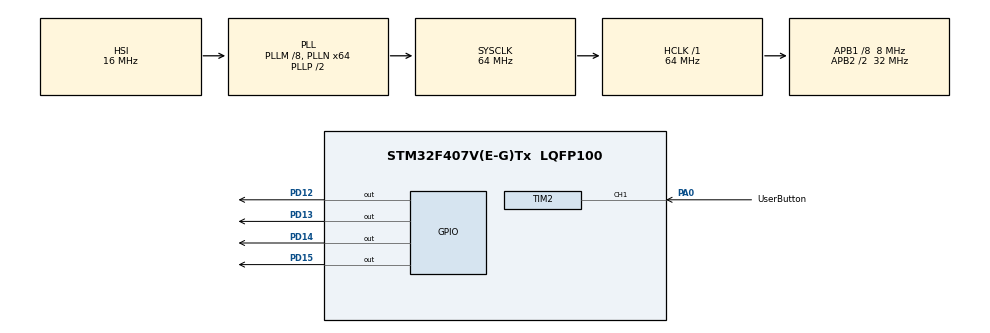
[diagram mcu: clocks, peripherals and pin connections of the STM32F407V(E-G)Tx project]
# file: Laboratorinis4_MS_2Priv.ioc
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Mcu.Family=STM32F4
Mcu.Name=STM32F407V(E-G)Tx
Mcu.Package=LQFP100
NVIC.PriorityGroup=NVIC_PRIORITYGROUP_0
NVIC.TIM2_IRQn=true\:0\:0\:false\:true\:true\:1\:true\:true\:true
PA0-WKUP.GPIO_Label=UserButton
PA0-WKUP.Signal=S_TIM2_CH1_ETR
PD12.Signal=GPIO_Output
PD13.Signal=GPIO_Output
PD14.Signal=GPIO_Output
PD15.Signal=GPIO_Output
PH0-OSC_IN.Mode=HSE-External-Oscillator
PH0-OSC_IN.Signal=RCC_OSC_IN
PH1-OSC_OUT.Mode=HSE-External-Oscillator
PH1-OSC_OUT.Signal=RCC_OSC_OUT
ProjectManager.HeapSize=0x200
ProjectManager.StackSize=0x400
ProjectManager.TargetToolchain=STM32CubeIDE
RCC.48MHZClocksFreq_Value=18285714.285714287
RCC.AHBFreq_Value=64000000
RCC.APB1CLKDivider=RCC_HCLK_DIV8
RCC.APB1Freq_Value=8000000
RCC.APB1TimFreq_Value=16000000
RCC.APB2CLKDivider=RCC_HCLK_DIV2
RCC.APB2Freq_Value=32000000
RCC.APB2TimFreq_Value=64000000
RCC.CortexFreq_Value=64000000
RCC.HCLKFreq_Value=64000000
RCC.HSE_VALUE=8000000
RCC.HSI_VALUE=16000000
RCC.LSE_VALUE=32768
RCC.PLLM=8
RCC.PLLN=64
RCC.PLLQ=7
RCC.SYSCLKFreq_VALUE=64000000
RCC.SYSCLKSource=RCC_SYSCLKSOURCE_PLLCLK
RCC.VCOOutputFreq_Value=128000000
SH.S_TIM2_CH1_ETR.0=TIM2_CH1,Input_Capture1_from_TI1
TIM2.Channel-Input_Capture1_from_TI1=TIM_CHANNEL_1
TIM2.ICFilter_CH1=15
TIM2.ICPolarity_CH1=TIM_INPUTCHANNELPOLARITY_FALLING
TIM2.Period=12000
TIM2.Prescaler=15999
VP_TIM2_VS_ClockSourceINT.Mode=Internal
board=STM32F407G-DISC1

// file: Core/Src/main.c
/* USER CODE BEGIN Header */
/**
  ******************************************************************************
  * @file           : main.c
  * @brief          : Main program body
  ******************************************************************************
  * @attention
  *
  * Copyright (c) 2023 STMicroelectronics.
  * All rights reserved.
  *
  * This software is licensed under terms that can be found in the LICENSE file
  * in the root directory of this software component.
  * If no LICENSE file comes with this software, it is provided AS-IS.
  *
  ******************************************************************************
  */
/* USER CODE END Header */
#include "main.h"

TIM_HandleTypeDef htim2;

void SystemClock_Config(void);
static void MX_GPIO_Init(void);
static void MX_TIM2_Init(void);
static void MX_NVIC_Init(void);

/* USER CODE BEGIN 0 */
int flag = 0;
uint32_t value = 0;
/* USER CODE END 0 */

int main(void)
{

  /* MCU Configuration--------------------------------------------------------*/

  /* Reset of all peripherals, Initializes the Flash interface and the Systick. */
  HAL_Init();

  /* Configure the system clock */
  SystemClock_Config();

  /* Initialize all configured peripherals */
  MX_GPIO_Init();
  MX_TIM2_Init();

  /* Initialize interrupts */
  MX_NVIC_Init();
  /* USER CODE BEGIN 2 */
  HAL_TIM_IC_Start_IT(&htim2, TIM_CHANNEL_1);

  /* USER CODE END 2 */

  /* Infinite loop */
  /* USER CODE BEGIN WHILE */
  while (1)
  {
	  if(!(GPIOA -> IDR & UserButton_Pin))
	  {
		 // value = __HAL_TIM_GET_COUNTER(&htim2);
		//	  HAL_GPIO_TogglePin(GPIOD, GPIO_PIN_14);
	  }

	  HAL_GPIO_TogglePin(GPIOD, GPIO_PIN_15);
	  HAL_Delay(1000);

    /* USER CODE END WHILE */

  }
}

void SystemClock_Config(void)
{
  RCC_OscInitTypeDef RCC_OscInitStruct = {0};
  RCC_ClkInitTypeDef RCC_ClkInitStruct = {0};

  /** Configure the main internal regulator output voltage
  */
  __HAL_RCC_PWR_CLK_ENABLE();
  __HAL_PWR_VOLTAGESCALING_CONFIG(PWR_REGULATOR_VOLTAGE_SCALE1);

  /** Initializes the RCC Oscillators according to the specified parameters
  * in the RCC_OscInitTypeDef structure.
  */
  RCC_OscInitStruct.OscillatorType = RCC_OSCILLATORTYPE_HSI;
  RCC_OscInitStruct.HSIState = RCC_HSI_ON;
  RCC_OscInitStruct.HSICalibrationValue = RCC_HSICALIBRATION_DEFAULT;
  RCC_OscInitStruct.PLL.PLLState = RCC_PLL_ON;
  RCC_OscInitStruct.PLL.PLLSource = RCC_PLLSOURCE_HSI;
  RCC_OscInitStruct.PLL.PLLM = 8;
  RCC_OscInitStruct.PLL.PLLN = 64;
  RCC_OscInitStruct.PLL.PLLP = RCC_PLLP_DIV2;
  RCC_OscInitStruct.PLL.PLLQ = 7;
  if (HAL_RCC_OscConfig(&RCC_OscInitStruct) != HAL_OK)
  {
    Error_Handler();
  }

  /** Initializes the CPU, AHB and APB buses clocks
  */
  RCC_ClkInitStruct.ClockType = RCC_CLOCKTYPE_HCLK|RCC_CLOCKTYPE_SYSCLK
                              |RCC_CLOCKTYPE_PCLK1|RCC_CLOCKTYPE_PCLK2;
  RCC_ClkInitStruct.SYSCLKSource = RCC_SYSCLKSOURCE_PLLCLK;
  RCC_ClkInitStruct.AHBCLKDivider = RCC_SYSCLK_DIV1;
  RCC_ClkInitStruct.APB1CLKDivider = RCC_HCLK_DIV8;
  RCC_ClkInitStruct.APB2CLKDivider = RCC_HCLK_DIV2;

  if (HAL_RCC_ClockConfig(&RCC_ClkInitStruct, FLASH_LATENCY_2) != HAL_OK)
  {
    Error_Handler();
  }
}

/**
  * @brief NVIC Configuration.
  * @retval None
  */
static void MX_NVIC_Init(void)
{
  /* TIM2_IRQn interrupt configuration */
  HAL_NVIC_SetPriority(TIM2_IRQn, 0, 0);
  HAL_NVIC_EnableIRQ(TIM2_IRQn);
}

static void MX_TIM2_Init(void)
{

  TIM_ClockConfigTypeDef sClockSourceConfig = {0};
  TIM_MasterConfigTypeDef sMasterConfig = {0};
  TIM_IC_InitTypeDef sConfigIC = {0};

  htim2.Instance = TIM2;
  htim2.Init.Prescaler = 15999;
  htim2.Init.CounterMode = TIM_COUNTERMODE_UP;
  htim2.Init.Period = 12000;
  htim2.Init.ClockDivision = TIM_CLOCKDIVISION_DIV1;
  htim2.Init.AutoReloadPreload = TIM_AUTORELOAD_PRELOAD_DISABLE;
  if (HAL_TIM_Base_Init(&htim2) != HAL_OK)
  {
    Error_Handler();
  }
  sClockSourceConfig.ClockSource = TIM_CLOCKSOURCE_INTERNAL;
  if (HAL_TIM_ConfigClockSource(&htim2, &sClockSourceConfig) != HAL_OK)
  {
    Error_Handler();
  }
  if (HAL_TIM_IC_Init(&htim2) != HAL_OK)
  {
    Error_Handler();
  }
  sMasterConfig.MasterOutputTrigger = TIM_TRGO_RESET;
  sMasterConfig.MasterSlaveMode = TIM_MASTERSLAVEMODE_DISABLE;
  if (HAL_TIMEx_MasterConfigSynchronization(&htim2, &sMasterConfig) != HAL_OK)
  {
    Error_Handler();
  }
  sConfigIC.ICPolarity = TIM_INPUTCHANNELPOLARITY_FALLING;
  sConfigIC.ICSelection = TIM_ICSELECTION_DIRECTTI;
  sConfigIC.ICPrescaler = TIM_ICPSC_DIV1;
  sConfigIC.ICFilter = 15;
  if (HAL_TIM_IC_ConfigChannel(&htim2, &sConfigIC, TIM_CHANNEL_1) != HAL_OK)
  {
    Error_Handler();
  }

}

static void MX_GPIO_Init(void)
{
  GPIO_InitTypeDef GPIO_InitStruct = {0};

  /* GPIO Ports Clock Enable */
  __HAL_RCC_GPIOH_CLK_ENABLE();
  __HAL_RCC_GPIOA_CLK_ENABLE();
  __HAL_RCC_GPIOD_CLK_ENABLE();

  /*Configure GPIO pin Output Level */
  HAL_GPIO_WritePin(GPIOD, GPIO_PIN_12|GPIO_PIN_13|GPIO_PIN_14|GPIO_PIN_15, GPIO_PIN_RESET);

  /*Configure GPIO pins : PD12 PD13 PD14 PD15 */
  GPIO_InitStruct.Pin = GPIO_PIN_12|GPIO_PIN_13|GPIO_PIN_14|GPIO_PIN_15;
  GPIO_InitStruct.Mode = GPIO_MODE_OUTPUT_PP;
  GPIO_InitStruct.Pull = GPIO_NOPULL;
  GPIO_InitStruct.Speed = GPIO_SPEED_FREQ_LOW;
  HAL_GPIO_Init(GPIOD, &GPIO_InitStruct);

}

/* USER CODE BEGIN 4 */
void HAL_TIM_IC_CaptureCallback(TIM_HandleTypeDef* htim)
{
	if(htim->Instance == htim2.Instance)
	{

		if (flag == 0)
		{
			  HAL_GPIO_WritePin(GPIOD, GPIO_PIN_12, RESET);
			  HAL_GPIO_WritePin(GPIOD, GPIO_PIN_13, RESET);
			  HAL_GPIO_WritePin(GPIOD, GPIO_PIN_14, RESET);
			__HAL_TIM_SetCounter(&htim2,0);
			value = __HAL_TIM_GET_COUNTER(&htim2);
			flag = 1;

		} else
		{
			 if((__HAL_TIM_GET_COUNTER(&htim2) - value) < 4000)
				  {
					  HAL_GPIO_WritePin(GPIOD, GPIO_PIN_12, SET);
					  flag = 0;
				  }
				  else if((__HAL_TIM_GET_COUNTER(&htim2) - value) < 8000)
				  {
					  HAL_GPIO_WritePin(GPIOD, GPIO_PIN_12, SET);
					  HAL_GPIO_WritePin(GPIOD, GPIO_PIN_13, SET);
					  flag = 0;
				  }
				  else if ((__HAL_TIM_GET_COUNTER(&htim2) - value) < 12000)
				  {
					  HAL_GPIO_WritePin(GPIOD, GPIO_PIN_12, SET);
					  HAL_GPIO_WritePin(GPIOD, GPIO_PIN_13, SET);
					  HAL_GPIO_WritePin(GPIOD, GPIO_PIN_14, SET);
					  flag = 0;
				  }

		}
	}
/*
		while(flag == 1)
		{
		if(htim->Instance == htim2.Instance)
			{

			}
		}
	}*/
}
/* USER CODE END 4 */

void Error_Handler(void)
{
  __disable_irq();
  while (1)
  {
  }
}
